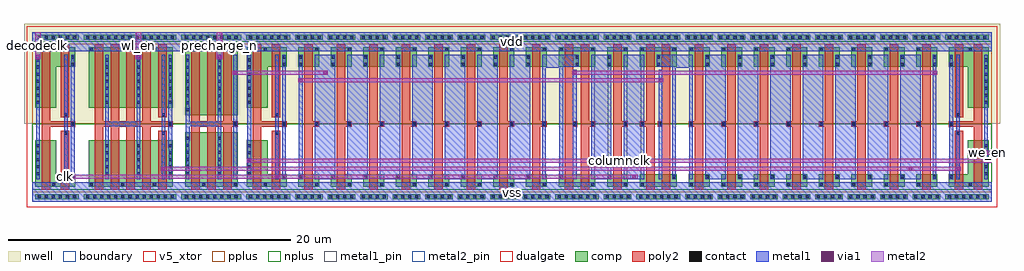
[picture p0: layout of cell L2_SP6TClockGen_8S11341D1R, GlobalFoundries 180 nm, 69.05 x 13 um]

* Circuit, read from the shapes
.subckt L2_SP6TClockGen_8S11341D1R clk columnclk decodeclk precharge_n vdd vss we_en wl_en
XM1 vss n1 decodeclk vss nfet_05v0 w=3.295u l=0.6u
XM2 n1 clk vss vss nfet_05v0 w=0.88u l=0.6u
XM3 wl_en n2 vss vss nfet_05v0 w=3.295u l=0.6u m=4
XM4 n2 L2_SP6TNonOvlClock_8S11341D1R_1/firststage[7] vss vss nfet_05v0 w=3.295u l=0.6u
XM5 vss L2_inv_x3_5v0_2/i precharge_n vss nfet_05v0 w=3.835u l=0.6u m=3
XM6 vss n3 columnclk vss nfet_05v0 w=3.295u l=0.6u
XM7 n3 clk vss vss nfet_05v0 w=0.88u l=0.6u
XM8 vss L2_inv_x3_5v0_2/i L2_SP6TNonOvlClock_8S11341D1R_1/secondstage[8] vss nfet_05v0 w=0.88u l=0.6u
XM9 vss L2_SP6TNonOvlClock_8S11341D1R_1/secondstage[6] L2_inv_x3_5v0_2/i vss nfet_05v0 w=0.88u l=0.6u
XM10 vss L2_SP6TNonOvlClock_8S11341D1R_1/secondstage[5] L2_SP6TNonOvlClock_8S11341D1R_1/secondstage[6] vss nfet_05v0 w=0.88u l=0.6u
XM11 vss L2_SP6TNonOvlClock_8S11341D1R_1/secondstage[4] L2_SP6TNonOvlClock_8S11341D1R_1/secondstage[5] vss nfet_05v0 w=0.88u l=0.6u
XM12 vss L2_SP6TNonOvlClock_8S11341D1R_1/secondstage[3] L2_SP6TNonOvlClock_8S11341D1R_1/secondstage[4] vss nfet_05v0 w=0.88u l=0.6u
XM13 vss L2_SP6TNonOvlClock_8S11341D1R_1/secondstage[2] L2_SP6TNonOvlClock_8S11341D1R_1/secondstage[3] vss nfet_05v0 w=0.88u l=0.6u
XM14 vss L2_SP6TNonOvlClock_8S11341D1R_1/secondstage[1] L2_SP6TNonOvlClock_8S11341D1R_1/secondstage[2] vss nfet_05v0 w=0.88u l=0.6u
XM15 vss L2_SP6TNonOvlClock_8S11341D1R_1/secondstage[0] L2_SP6TNonOvlClock_8S11341D1R_1/secondstage[1] vss nfet_05v0 w=0.88u l=0.6u
XM16 n4 L2_SP6TNonOvlClock_8S11341D1R_1/firststage[8] L2_SP6TNonOvlClock_8S11341D1R_1/secondstage[0] vss nfet_05v0 w=0.88u l=0.6u
XM17 vss L2_SP6TNonOvlClock_8S11341D1R_1/L2_nand2_x0_5v0_9/i0 n4 vss nfet_05v0 w=0.88u l=0.6u
XM18 vss clk L2_SP6TNonOvlClock_8S11341D1R_1/L2_nand2_x0_5v0_9/i0 vss nfet_05v0 w=0.88u l=0.6u
XM19 n5 clk vss vss nfet_05v0 w=0.88u l=0.6u
XM20 L2_SP6TNonOvlClock_8S11341D1R_1/firststage[0] L2_SP6TNonOvlClock_8S11341D1R_1/secondstage[8] n5 vss nfet_05v0 w=0.88u l=0.6u
XM21 L2_SP6TNonOvlClock_8S11341D1R_1/firststage[1] L2_SP6TNonOvlClock_8S11341D1R_1/firststage[0] vss vss nfet_05v0 w=0.88u l=0.6u
XM22 L2_SP6TNonOvlClock_8S11341D1R_1/firststage[2] L2_SP6TNonOvlClock_8S11341D1R_1/firststage[1] vss vss nfet_05v0 w=0.88u l=0.6u
XM23 L2_SP6TNonOvlClock_8S11341D1R_1/firststage[3] L2_SP6TNonOvlClock_8S11341D1R_1/firststage[2] vss vss nfet_05v0 w=0.88u l=0.6u
XM24 L2_SP6TNonOvlClock_8S11341D1R_1/firststage[4] L2_SP6TNonOvlClock_8S11341D1R_1/firststage[3] vss vss nfet_05v0 w=0.88u l=0.6u
XM25 L2_SP6TNonOvlClock_8S11341D1R_1/firststage[5] L2_SP6TNonOvlClock_8S11341D1R_1/firststage[4] vss vss nfet_05v0 w=0.88u l=0.6u
XM26 L2_SP6TNonOvlClock_8S11341D1R_1/firststage[6] L2_SP6TNonOvlClock_8S11341D1R_1/firststage[5] vss vss nfet_05v0 w=0.88u l=0.6u
XM27 L2_SP6TNonOvlClock_8S11341D1R_1/firststage[7] L2_SP6TNonOvlClock_8S11341D1R_1/firststage[6] vss vss nfet_05v0 w=0.88u l=0.6u
XM28 L2_SP6TNonOvlClock_8S11341D1R_1/firststage[8] L2_SP6TNonOvlClock_8S11341D1R_1/firststage[7] vss vss nfet_05v0 w=0.88u l=0.6u
XM29 vss L2_SP6TNonOvlClock_8S11341D1R_1/firststage[7] n6 vss nfet_05v0 w=0.88u l=0.6u
XM30 we_en n6 vss vss nfet_05v0 w=3.295u l=0.6u
XM31 vdd n1 decodeclk vdd pfet_05v0 w=4.295u l=0.6u
XM32 n1 clk vdd vdd pfet_05v0 w=1.4u l=0.6u
XM33 wl_en n2 vdd vdd pfet_05v0 w=4.295u l=0.6u m=4
XM34 n2 L2_SP6TNonOvlClock_8S11341D1R_1/firststage[7] vdd vdd pfet_05v0 w=4.295u l=0.6u
XM35 vdd L2_inv_x3_5v0_2/i precharge_n vdd pfet_05v0 w=4.835u l=0.6u m=3
XM36 vdd n3 columnclk vdd pfet_05v0 w=4.295u l=0.6u
XM37 n3 clk vdd vdd pfet_05v0 w=1.4u l=0.6u
XM38 vdd L2_inv_x3_5v0_2/i L2_SP6TNonOvlClock_8S11341D1R_1/secondstage[8] vdd pfet_05v0 w=1.4u l=0.6u
XM39 vdd L2_SP6TNonOvlClock_8S11341D1R_1/secondstage[6] L2_inv_x3_5v0_2/i vdd pfet_05v0 w=1.4u l=0.6u
XM40 vdd L2_SP6TNonOvlClock_8S11341D1R_1/secondstage[5] L2_SP6TNonOvlClock_8S11341D1R_1/secondstage[6] vdd pfet_05v0 w=1.4u l=0.6u
XM41 vdd L2_SP6TNonOvlClock_8S11341D1R_1/secondstage[4] L2_SP6TNonOvlClock_8S11341D1R_1/secondstage[5] vdd pfet_05v0 w=1.4u l=0.6u
XM42 vdd L2_SP6TNonOvlClock_8S11341D1R_1/secondstage[3] L2_SP6TNonOvlClock_8S11341D1R_1/secondstage[4] vdd pfet_05v0 w=1.4u l=0.6u
XM43 vdd L2_SP6TNonOvlClock_8S11341D1R_1/secondstage[2] L2_SP6TNonOvlClock_8S11341D1R_1/secondstage[3] vdd pfet_05v0 w=1.4u l=0.6u
XM44 vdd L2_SP6TNonOvlClock_8S11341D1R_1/secondstage[1] L2_SP6TNonOvlClock_8S11341D1R_1/secondstage[2] vdd pfet_05v0 w=1.4u l=0.6u
XM45 vdd L2_SP6TNonOvlClock_8S11341D1R_1/secondstage[0] L2_SP6TNonOvlClock_8S11341D1R_1/secondstage[1] vdd pfet_05v0 w=1.4u l=0.6u
XM46 L2_SP6TNonOvlClock_8S11341D1R_1/secondstage[0] L2_SP6TNonOvlClock_8S11341D1R_1/firststage[8] vdd vdd pfet_05v0 w=1.4u l=0.6u
XM47 vdd L2_SP6TNonOvlClock_8S11341D1R_1/L2_nand2_x0_5v0_9/i0 L2_SP6TNonOvlClock_8S11341D1R_1/secondstage[0] vdd pfet_05v0 w=1.4u l=0.6u
XM48 vdd clk L2_SP6TNonOvlClock_8S11341D1R_1/L2_nand2_x0_5v0_9/i0 vdd pfet_05v0 w=1.4u l=0.6u
XM49 L2_SP6TNonOvlClock_8S11341D1R_1/firststage[0] clk vdd vdd pfet_05v0 w=1.4u l=0.6u
XM50 vdd L2_SP6TNonOvlClock_8S11341D1R_1/secondstage[8] L2_SP6TNonOvlClock_8S11341D1R_1/firststage[0] vdd pfet_05v0 w=1.4u l=0.6u
XM51 L2_SP6TNonOvlClock_8S11341D1R_1/firststage[1] L2_SP6TNonOvlClock_8S11341D1R_1/firststage[0] vdd vdd pfet_05v0 w=1.4u l=0.6u
XM52 L2_SP6TNonOvlClock_8S11341D1R_1/firststage[2] L2_SP6TNonOvlClock_8S11341D1R_1/firststage[1] vdd vdd pfet_05v0 w=1.4u l=0.6u
XM53 L2_SP6TNonOvlClock_8S11341D1R_1/firststage[3] L2_SP6TNonOvlClock_8S11341D1R_1/firststage[2] vdd vdd pfet_05v0 w=1.4u l=0.6u
XM54 L2_SP6TNonOvlClock_8S11341D1R_1/firststage[4] L2_SP6TNonOvlClock_8S11341D1R_1/firststage[3] vdd vdd pfet_05v0 w=1.4u l=0.6u
XM55 L2_SP6TNonOvlClock_8S11341D1R_1/firststage[5] L2_SP6TNonOvlClock_8S11341D1R_1/firststage[4] vdd vdd pfet_05v0 w=1.4u l=0.6u
XM56 L2_SP6TNonOvlClock_8S11341D1R_1/firststage[6] L2_SP6TNonOvlClock_8S11341D1R_1/firststage[5] vdd vdd pfet_05v0 w=1.4u l=0.6u
XM57 L2_SP6TNonOvlClock_8S11341D1R_1/firststage[7] L2_SP6TNonOvlClock_8S11341D1R_1/firststage[6] vdd vdd pfet_05v0 w=1.4u l=0.6u
XM58 L2_SP6TNonOvlClock_8S11341D1R_1/firststage[8] L2_SP6TNonOvlClock_8S11341D1R_1/firststage[7] vdd vdd pfet_05v0 w=1.4u l=0.6u
XM59 vdd L2_SP6TNonOvlClock_8S11341D1R_1/firststage[7] n6 vdd pfet_05v0 w=1.4u l=0.6u
XM60 we_en n6 vdd vdd pfet_05v0 w=4.295u l=0.6u
.ends

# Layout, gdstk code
from math import pi, radians
import gdstk
lib = gdstk.Library(unit=1e-6, precision=1e-09)
def R(c, l, rs):  # rectangles x0, y0, x1, y1
    for r in rs: c.add(gdstk.rectangle(r[:2], r[2:], *l))
def A(c, l, x, y, w, h, nx, ny, dx, dy):  # array of equal rectangles
    R(c, l, [(x+i*dx, y+j*dy, x+i*dx+w, y+j*dy+h) for i in range(nx) for j in range(ny)])
def P(c, l, *ps):  # polygons
    for p in ps: c.add(gdstk.Polygon(p, *l))
boundary = (0, 0)
nwell = (21, 0)
comp = (22, 0)
poly2 = (30, 0)
pplus = (31, 0)
nplus = (32, 0)
contact = (33, 0)
metal1 = (34, 0)
metal1_pin = (34, 10)
via1 = (35, 0)
metal2 = (36, 0)
metal2_pin = (36, 10)
dualgate = (55, 0)
v5_xtor = (112, 1)

l2_buf_x1_5v0 = lib.new_cell('L2_buf_x1_5v0')
R(l2_buf_x1_5v0, nwell, [(-0.6,5.5,4.05,12.6)])
R(l2_buf_x1_5v0, comp, [(0.18,0.18,3.27,0.54), (0.18,11.46,3.27,11.82)])
P(l2_buf_x1_5v0, comp, [(1.76,6.64),(1.76,9.535),(0.42,9.535),(0.42,10.935),(3.24,10.935),(3.24,6.64)],
  [(0.42,1.065),(0.42,1.945),(1.76,1.945),(1.76,4.36),(3.24,4.36),(3.24,1.065)])
R(l2_buf_x1_5v0, poly2, [(0.86,0.845,1.46,5.02), (0.86,5.98,1.46,11.155)])
P(l2_buf_x1_5v0, poly2, [(2.2,0.845),(2.2,5.32),(0.42,5.32),(0.42,5.68),(2.2,5.68),(2.2,11.155),(2.8,11.155),(2.8,0.845)])
R(l2_buf_x1_5v0, pplus, [(0,0,3.45,0.7), (0,5.5,3.45,11.165)])
R(l2_buf_x1_5v0, nplus, [(0,0.835,3.45,5.5), (0,11.3,3.45,12)])
A(l2_buf_x1_5v0, contact, 0.365, 0.25, 0.22, 0.22, 6, 2, 0.5, 11.28)
A(l2_buf_x1_5v0, contact, 2.95, 1.86, 0.22, 0.22, 1, 5, 0, 0.5)
A(l2_buf_x1_5v0, contact, 2.95, 6.92, 0.22, 0.22, 1, 7, 0, 0.5)
R(l2_buf_x1_5v0, contact, [(1.83,1.135,2.05,1.355), (0.49,1.65,0.71,1.87), (0.98,4.73,1.2,4.95), (0.49,5.39,0.71,5.61), (0.98,6.05,1.2,6.27), (0.49,9.62,0.71,9.84), (0.49,10.12,0.71,10.34), (1.83,10.645,2.05,10.865)])
R(l2_buf_x1_5v0, metal1, [(0,0,3.45,1.36), (0.96,1.59,1.22,10.41), (2.93,1.59,3.19,10.41), (0,10.64,3.45,12)])
P(l2_buf_x1_5v0, metal1, [(0.47,1.59),(0.47,9.9),(0.485,9.9),(0.485,10.41),(0.715,10.41),(0.715,9.9),(0.73,9.9),(0.73,1.59)])
R(l2_buf_x1_5v0, metal1_pin, [(0,0,3.45,1.36), (0.96,1.59,1.22,10.41), (2.93,1.59,3.19,10.41), (0,10.64,3.45,12)])
R(l2_buf_x1_5v0, dualgate, [(-0.4,-0.4,3.85,12.4)])
R(l2_buf_x1_5v0, v5_xtor, [(-0.005,-0.005,3.455,12.005)])
l2_buf_x1_5v0.add(gdstk.Label('q', (3.06,6), layer=34, texttype=10))
l2_buf_x1_5v0.add(gdstk.Label('i', (1.09,6), layer=34, texttype=10))
l2_buf_x1_5v0.add(gdstk.Label('vss', (1.725,0.68), layer=34, texttype=10))
l2_buf_x1_5v0.add(gdstk.Label('vdd', (1.725,11.32), layer=34, texttype=10))

l2_inv_x0_5v0 = lib.new_cell('L2_inv_x0_5v0')
R(l2_inv_x0_5v0, nwell, [(-0.6,5.5,2.9,12.6)])
R(l2_inv_x0_5v0, comp, [(0.18,0.18,2.12,0.54), (0.42,1.065,1.9,1.945), (0.42,9.535,1.9,10.935), (0.18,11.46,2.12,11.82)])
P(l2_inv_x0_5v0, poly2, [(0.86,0.845),(0.86,5.32),(0.42,5.32),(0.42,5.68),(0.86,5.68),(0.86,11.155),(1.46,11.155),(1.46,0.845)])
R(l2_inv_x0_5v0, pplus, [(0,0,2.3,0.7), (0,5.5,2.3,11.165)])
R(l2_inv_x0_5v0, nplus, [(0,0.835,2.3,5.5), (0,11.3,2.3,12)])
A(l2_inv_x0_5v0, contact, 0.29, 0.25, 0.22, 0.22, 4, 2, 0.5, 11.28)
R(l2_inv_x0_5v0, contact, [(0.49,1.135,0.71,1.355), (1.61,1.65,1.83,1.87), (0.49,5.39,0.71,5.61), (1.61,9.62,1.83,9.84), (1.61,10.12,1.83,10.34), (0.49,10.645,0.71,10.865)])
R(l2_inv_x0_5v0, metal1, [(0,0,2.3,1.36), (0.47,1.59,0.73,10.41), (1.59,1.59,1.85,10.41), (0,10.64,2.3,12)])
R(l2_inv_x0_5v0, metal1_pin, [(0,0,2.3,1.36), (0.47,1.59,0.73,10.41), (1.59,1.59,1.85,10.41), (0,10.64,2.3,12)])
R(l2_inv_x0_5v0, dualgate, [(-0.4,-0.4,2.7,12.4)])
R(l2_inv_x0_5v0, v5_xtor, [(-0.005,-0.005,2.305,12.005)])
l2_inv_x0_5v0.add(gdstk.Label('i', (0.6,6), layer=34, texttype=10))
l2_inv_x0_5v0.add(gdstk.Label('nq', (1.72,6), layer=34, texttype=10))
l2_inv_x0_5v0.add(gdstk.Label('vdd', (1.15,11.32), layer=34, texttype=10))
l2_inv_x0_5v0.add(gdstk.Label('vss', (1.15,0.68), layer=34, texttype=10))

l2_nand2_x0_5v0 = lib.new_cell('L2_nand2_x0_5v0')
R(l2_nand2_x0_5v0, nwell, [(-0.6,5.5,4.05,12.6)])
R(l2_nand2_x0_5v0, comp, [(0.18,0.18,3.27,0.54), (0.42,1.065,3.02,1.945), (0.42,9.535,3.02,10.935), (0.18,11.46,3.27,11.82)])
P(l2_nand2_x0_5v0, poly2, [(1.98,0.845),(1.98,5.32),(1.7,5.32),(1.7,5.68),(1.98,5.68),(1.98,11.155),(2.58,11.155),(2.58,0.845)],
  [(0.86,0.845),(0.86,5.32),(0.42,5.32),(0.42,5.68),(0.86,5.68),(0.86,11.155),(1.46,11.155),(1.46,0.845)])
R(l2_nand2_x0_5v0, pplus, [(0,0,3.45,0.7), (0,5.5,3.45,11.165)])
R(l2_nand2_x0_5v0, nplus, [(0,0.835,3.45,5.5), (0,11.3,3.45,12)])
A(l2_nand2_x0_5v0, contact, 0.365, 0.25, 0.22, 0.22, 6, 2, 0.5, 11.28)
R(l2_nand2_x0_5v0, contact, [(0.49,1.135,0.71,1.355), (2.73,1.65,2.95,1.87), (0.49,5.39,0.71,5.61), (1.77,5.39,1.99,5.61), (1.61,9.62,1.83,9.84), (1.61,10.12,1.83,10.34), (0.49,10.645,0.71,10.865), (2.73,10.645,2.95,10.865)])
R(l2_nand2_x0_5v0, metal1, [(0,0,3.45,1.36), (0.47,1.59,0.73,10.41), (1.75,1.59,2.01,9.33), (0,10.64,3.45,12)])
P(l2_nand2_x0_5v0, metal1, [(2.71,1.59),(2.71,9.56),(1.605,9.56),(1.605,10.41),(2.97,10.41),(2.97,1.59)])
R(l2_nand2_x0_5v0, metal1_pin, [(0,0,3.45,1.36), (0.47,1.59,0.73,10.41), (1.75,1.59,2.01,9.33), (2.71,1.59,2.97,10.41), (0,10.64,3.45,12)])
R(l2_nand2_x0_5v0, dualgate, [(-0.4,-0.4,3.85,12.4)])
R(l2_nand2_x0_5v0, v5_xtor, [(-0.005,-0.005,3.455,12.005)])
l2_nand2_x0_5v0.add(gdstk.Label('nq', (2.84,6), layer=34, texttype=10))
l2_nand2_x0_5v0.add(gdstk.Label('i1', (1.88,5.46), layer=34, texttype=10))
l2_nand2_x0_5v0.add(gdstk.Label('i0', (0.6,6), layer=34, texttype=10))
l2_nand2_x0_5v0.add(gdstk.Label('vdd', (1.725,11.32), layer=34, texttype=10))
l2_nand2_x0_5v0.add(gdstk.Label('vss', (1.725,0.68), layer=34, texttype=10))

l2_sp6tnonovlclock_8s113 = lib.new_cell('L2_SP6TNonOvlClock_8S11341D1R')
R(l2_sp6tnonovlclock_8s113, boundary, [(0,0,46,12)])
A(l2_sp6tnonovlclock_8s113, metal1, 1.57, 1.59, 1.44, 8.82, 7, 1, 2.3, 0)
A(l2_sp6tnonovlclock_8s113, metal1, 29.19, 1.59, 1.44, 8.82, 7, 1, 2.3, 0)
R(l2_sp6tnonovlclock_8s113, metal1, [(0,0,46,1.36), (21.25,1.59,22.43,10.41), (23.55,1.59,24.75,10.41), (0.45,8.39,0.71,8.77), (25.9,8.39,26.16,8.77), (19.84,8.95,20.1,9.33), (45.29,8.95,45.55,9.33), (17.67,9.49,19.01,10.41), (26.99,9.49,28.33,10.41), (0,10.64,46,12)])
A(l2_sp6tnonovlclock_8s113, metal1_pin, 1.57, 1.59, 1.44, 8.82, 7, 1, 2.3, 0)
A(l2_sp6tnonovlclock_8s113, metal1_pin, 29.19, 1.59, 1.44, 8.82, 7, 1, 2.3, 0)
R(l2_sp6tnonovlclock_8s113, metal1_pin, [(0,0,46,1.36), (17.67,9.49,19.01,10.41), (26.99,9.49,28.33,10.41), (0,10.64,46,12)])
R(l2_sp6tnonovlclock_8s113, via1, [(24.02,1.65,24.28,1.91), (0.45,8.45,0.71,8.71), (25.9,8.45,26.16,8.71), (19.84,9.01,20.1,9.27), (45.29,9.01,45.55,9.27)])
R(l2_sp6tnonovlclock_8s113, metal2, [(23.89,1.64,24.41,1.92), (0.39,8.44,26.22,8.72), (19.78,9,45.61,9.28)])
R(l2_sp6tnonovlclock_8s113, metal2_pin, [(23.89,1.64,24.41,1.92), (0.39,8.44,26.22,8.72), (19.78,9,45.61,9.28)])
l2_sp6tnonovlclock_8s113.add(gdstk.Reference(l2_inv_x0_5v0, (27.6,0)))
l2_sp6tnonovlclock_8s113.add(gdstk.Reference(l2_inv_x0_5v0, (29.9,0)))
l2_sp6tnonovlclock_8s113.add(gdstk.Reference(l2_inv_x0_5v0, (32.2,0)))
l2_sp6tnonovlclock_8s113.add(gdstk.Reference(l2_inv_x0_5v0, (34.5,0)))
l2_sp6tnonovlclock_8s113.add(gdstk.Reference(l2_inv_x0_5v0, (36.8,0)))
l2_sp6tnonovlclock_8s113.add(gdstk.Reference(l2_inv_x0_5v0, (39.1,0)))
l2_sp6tnonovlclock_8s113.add(gdstk.Reference(l2_inv_x0_5v0, (41.4,0)))
l2_sp6tnonovlclock_8s113.add(gdstk.Reference(l2_inv_x0_5v0, (43.7,0)))
l2_sp6tnonovlclock_8s113.add(gdstk.Reference(l2_nand2_x0_5v0, (24.15,0)))
l2_sp6tnonovlclock_8s113.add(gdstk.Reference(l2_nand2_x0_5v0, (21.85,0), rotation=pi, x_reflection=True))
l2_sp6tnonovlclock_8s113.add(gdstk.Reference(l2_inv_x0_5v0, (2.3,0), rotation=pi, x_reflection=True))
l2_sp6tnonovlclock_8s113.add(gdstk.Reference(l2_inv_x0_5v0, (4.6,0), rotation=pi, x_reflection=True))
l2_sp6tnonovlclock_8s113.add(gdstk.Reference(l2_inv_x0_5v0, (6.9,0), rotation=pi, x_reflection=True))
l2_sp6tnonovlclock_8s113.add(gdstk.Reference(l2_inv_x0_5v0, (9.2,0), rotation=pi, x_reflection=True))
l2_sp6tnonovlclock_8s113.add(gdstk.Reference(l2_inv_x0_5v0, (11.5,0), rotation=pi, x_reflection=True))
l2_sp6tnonovlclock_8s113.add(gdstk.Reference(l2_inv_x0_5v0, (13.8,0), rotation=pi, x_reflection=True))
l2_sp6tnonovlclock_8s113.add(gdstk.Reference(l2_inv_x0_5v0, (16.1,0), rotation=pi, x_reflection=True))
l2_sp6tnonovlclock_8s113.add(gdstk.Reference(l2_inv_x0_5v0, (18.4,0), rotation=pi, x_reflection=True))
l2_sp6tnonovlclock_8s113.add(gdstk.Reference(l2_inv_x0_5v0, (24.15,0), rotation=pi, x_reflection=True))
l2_sp6tnonovlclock_8s113.add(gdstk.Label('secondstage[7]', (2.29,6), layer=34, texttype=10))
l2_sp6tnonovlclock_8s113.add(gdstk.Label('firststage[6]', (41.41,6), layer=34, texttype=10))
l2_sp6tnonovlclock_8s113.add(gdstk.Label('secondstage[5]', (6.89,6), layer=34, texttype=10))
l2_sp6tnonovlclock_8s113.add(gdstk.Label('vdd', (23,11.32), layer=34, texttype=10))
l2_sp6tnonovlclock_8s113.add(gdstk.Label('firststage[3]', (34.51,6), layer=34, texttype=10))
l2_sp6tnonovlclock_8s113.add(gdstk.Label('vss', (23,0.68), layer=34, texttype=10))
l2_sp6tnonovlclock_8s113.add(gdstk.Label('firststage[5]', (39.11,6), layer=34, texttype=10))
l2_sp6tnonovlclock_8s113.add(gdstk.Label('secondstage[2]', (13.79,6), layer=34, texttype=10))
l2_sp6tnonovlclock_8s113.add(gdstk.Label('secondstage[0]', (18.34,9.95), layer=34, texttype=10))
l2_sp6tnonovlclock_8s113.add(gdstk.Label('secondstage[4]', (9.19,6), layer=34, texttype=10))
l2_sp6tnonovlclock_8s113.add(gdstk.Label('firststage[1]', (29.91,6), layer=34, texttype=10))
l2_sp6tnonovlclock_8s113.add(gdstk.Label('secondstage[1]', (16.09,6), layer=34, texttype=10))
l2_sp6tnonovlclock_8s113.add(gdstk.Label('firststage[0]', (27.66,9.95), layer=34, texttype=10))
l2_sp6tnonovlclock_8s113.add(gdstk.Label('firststage[2]', (32.21,6), layer=34, texttype=10))
l2_sp6tnonovlclock_8s113.add(gdstk.Label('firststage[7]', (43.71,6), layer=34, texttype=10))
l2_sp6tnonovlclock_8s113.add(gdstk.Label('secondstage[6]', (4.59,6), layer=34, texttype=10))
l2_sp6tnonovlclock_8s113.add(gdstk.Label('secondstage[3]', (11.49,6), layer=34, texttype=10))
l2_sp6tnonovlclock_8s113.add(gdstk.Label('firststage[4]', (36.81,6), layer=34, texttype=10))
l2_sp6tnonovlclock_8s113.add(gdstk.Label('secondstage[8]', (13.305,8.58), layer=36, texttype=10))
l2_sp6tnonovlclock_8s113.add(gdstk.Label('firststage[8]', (32.695,9.14), layer=36, texttype=10))
l2_sp6tnonovlclock_8s113.add(gdstk.Label('clk', (24.15,1.78), layer=36, texttype=10))

l2_inv_x3_5v0 = lib.new_cell('L2_inv_x3_5v0')
R(l2_inv_x3_5v0, nwell, [(-0.6,5.5,5.2,12.6)])
R(l2_inv_x3_5v0, comp, [(0.18,0.18,4.42,0.54), (0.42,1.065,4.14,4.9), (0.42,6.1,4.14,10.935), (0.18,11.46,4.42,11.82)])
P(l2_inv_x3_5v0, poly2, [(0.86,0.845),(0.86,5.32),(0.42,5.32),(0.42,5.68),(0.86,5.68),(0.86,11.155),(1.46,11.155),(1.46,5.68),(1.98,5.68),(1.98,11.155),(2.58,11.155),(2.58,5.68),(3.1,5.68),(3.1,11.155),(3.7,11.155),(3.7,0.845),(3.1,0.845),(3.1,5.32),(2.58,5.32),(2.58,0.845),(1.98,0.845),(1.98,5.32),(1.46,5.32),(1.46,0.845)])
R(l2_inv_x3_5v0, pplus, [(0,0,4.6,0.7), (0,5.5,4.6,11.165)])
R(l2_inv_x3_5v0, nplus, [(0,0.835,4.6,5.5), (0,11.3,4.6,12)])
A(l2_inv_x3_5v0, contact, 0.44, 0.25, 0.22, 0.22, 8, 2, 0.5, 11.28)
A(l2_inv_x3_5v0, contact, 1.61, 1.88, 0.22, 0.22, 1, 6, 0, 0.5)
A(l2_inv_x3_5v0, contact, 3.85, 1.88, 0.22, 0.22, 1, 6, 0, 0.5)
A(l2_inv_x3_5v0, contact, 1.61, 6.4, 0.22, 0.22, 1, 8, 0, 0.5)
A(l2_inv_x3_5v0, contact, 3.85, 6.4, 0.22, 0.22, 1, 8, 0, 0.5)
R(l2_inv_x3_5v0, contact, [(0.49,1.135,0.71,1.355), (2.73,1.135,2.95,1.355), (0.49,5.39,0.71,5.61), (0.49,10.645,0.71,10.865), (2.73,10.645,2.95,10.865)])
R(l2_inv_x3_5v0, metal1, [(0,0,4.6,1.36), (0.47,1.59,0.73,10.41), (0,10.64,4.6,12)])
P(l2_inv_x3_5v0, metal1, [(1.59,1.59),(1.59,10.41),(1.85,10.41),(1.85,5.67),(3.83,5.67),(3.83,6.68),(3.845,6.68),(3.845,10.41),(4.075,10.41),(4.075,6.68),(4.09,6.68),(4.09,4.32),(4.075,4.32),(4.075,1.59),(3.845,1.59),(3.845,4.32),(3.83,4.32),(3.83,5.33),(1.85,5.33),(1.85,1.59)])
R(l2_inv_x3_5v0, metal1_pin, [(0,0,4.6,1.36), (0.47,1.59,0.73,10.41), (1.59,1.59,1.85,10.41), (0,10.64,4.6,12)])
R(l2_inv_x3_5v0, dualgate, [(-0.4,-0.4,5,12.4)])
R(l2_inv_x3_5v0, v5_xtor, [(-0.005,-0.005,4.605,12.005)])
l2_inv_x3_5v0.add(gdstk.Label('i', (0.6,6), layer=34, texttype=10))
l2_inv_x3_5v0.add(gdstk.Label('nq', (1.72,6), layer=34, texttype=10))
l2_inv_x3_5v0.add(gdstk.Label('vdd', (2.3,11.32), layer=34, texttype=10))
l2_inv_x3_5v0.add(gdstk.Label('vss', (2.3,0.68), layer=34, texttype=10))

l2_buf_x4_5v0 = lib.new_cell('L2_buf_x4_5v0')
R(l2_buf_x4_5v0, nwell, [(-0.6,5.5,7.5,12.6)])
R(l2_buf_x4_5v0, comp, [(0.18,0.18,6.72,0.54), (0.42,1.065,6.38,4.36), (0.42,6.64,6.38,10.935), (0.18,11.46,6.72,11.82)])
R(l2_buf_x4_5v0, poly2, [(0.86,0.845,1.46,5.02), (0.86,5.98,1.46,11.155)])
P(l2_buf_x4_5v0, poly2, [(1.98,0.845),(1.98,5.32),(0.42,5.32),(0.42,5.68),(1.98,5.68),(1.98,11.155),(2.58,11.155),(2.58,5.68),(3.1,5.68),(3.1,11.155),(3.7,11.155),(3.7,5.68),(4.22,5.68),(4.22,11.155),(4.82,11.155),(4.82,5.68),(5.34,5.68),(5.34,11.155),(5.94,11.155),(5.94,0.845),(5.34,0.845),(5.34,5.32),(4.82,5.32),(4.82,0.845),(4.22,0.845),(4.22,5.32),(3.7,5.32),(3.7,0.845),(3.1,0.845),(3.1,5.32),(2.58,5.32),(2.58,0.845)])
R(l2_buf_x4_5v0, pplus, [(0,0,6.9,0.7), (0,5.5,6.9,11.165)])
R(l2_buf_x4_5v0, nplus, [(0,0.835,6.9,5.5), (0,11.3,6.9,12)])
A(l2_buf_x4_5v0, contact, 0.34, 0.25, 0.22, 0.22, 13, 2, 0.5, 11.28)
A(l2_buf_x4_5v0, contact, 1.61, 1.135, 0.22, 0.22, 3, 2, 2.24, 9.51)
A(l2_buf_x4_5v0, contact, 0.49, 1.86, 0.22, 0.22, 3, 5, 2.24, 0.5)
A(l2_buf_x4_5v0, contact, 0.49, 6.92, 0.22, 0.22, 3, 7, 2.24, 0.5)
R(l2_buf_x4_5v0, contact, [(0.98,4.73,1.2,4.95), (0.49,5.39,0.71,5.61), (0.98,6.05,1.2,6.27)])
R(l2_buf_x4_5v0, metal1, [(0,0,6.9,1.36), (0.96,1.59,1.22,10.41), (0,10.64,6.9,12)])
P(l2_buf_x4_5v0, metal1, [(2.71,1.59),(2.71,10.41),(2.97,10.41),(2.97,5.67),(4.95,5.67),(4.95,7.2),(4.965,7.2),(4.965,10.41),(5.195,10.41),(5.195,7.2),(5.21,7.2),(5.21,3.8),(5.195,3.8),(5.195,1.59),(4.965,1.59),(4.965,3.8),(4.95,3.8),(4.95,5.33),(2.97,5.33),(2.97,1.59)],
  [(0.485,1.59),(0.485,3.8),(0.47,3.8),(0.47,7.2),(0.485,7.2),(0.485,10.41),(0.715,10.41),(0.715,7.2),(0.73,7.2),(0.73,3.8),(0.715,3.8),(0.715,1.59)])
R(l2_buf_x4_5v0, metal1_pin, [(0,0,6.9,1.36), (0.96,1.59,1.22,10.41), (2.71,1.59,2.97,10.41), (0,10.64,6.9,12)])
R(l2_buf_x4_5v0, dualgate, [(-0.4,-0.4,7.3,12.4)])
R(l2_buf_x4_5v0, v5_xtor, [(-0.005,-0.005,6.905,12.005)])
l2_buf_x4_5v0.add(gdstk.Label('q', (2.84,6), layer=34, texttype=10))
l2_buf_x4_5v0.add(gdstk.Label('i', (1.09,6), layer=34, texttype=10))
l2_buf_x4_5v0.add(gdstk.Label('vss', (3.45,0.68), layer=34, texttype=10))
l2_buf_x4_5v0.add(gdstk.Label('vdd', (3.45,11.32), layer=34, texttype=10))

l2_sp6tclockgen_8s11341d = lib.new_cell('L2_SP6TClockGen_8S11341D1R')
R(l2_sp6tclockgen_8s11341d, boundary, [(0,0,67.85,12)])
R(l2_sp6tclockgen_8s11341d, metal1, [(0,0,67.85,1.36), (2.23,1.59,2.49,1.97), (17.18,1.59,17.44,1.97), (9.13,2.15,9.39,2.53), (61.98,2.15,62.24,2.53), (65.36,2.15,65.62,2.53), (15.21,2.71,15.47,3.09), (67.33,3.27,67.59,3.65), (14.22,8.95,14.48,9.33), (20.56,8.95,20.82,9.33), (0.26,10.03,0.52,10.41), (7.38,10.03,7.64,10.41), (13.1,10.03,13.36,10.41), (0,10.64,67.85,12)])
R(l2_sp6tclockgen_8s11341d, metal1_pin, [(0,0,67.85,1.36), (0,10.64,67.85,12)])
R(l2_sp6tclockgen_8s11341d, via1, [(2.23,1.65,2.49,1.91), (17.18,1.65,17.44,1.91), (9.13,2.21,9.39,2.47), (61.98,2.21,62.24,2.47), (65.36,2.21,65.62,2.47), (15.21,2.77,15.47,3.03), (67.33,3.33,67.59,3.59), (14.22,9.01,14.48,9.27), (20.56,9.01,20.82,9.27), (0.26,10.09,0.52,10.35), (7.38,10.09,7.64,10.35), (13.1,10.09,13.36,10.35)])
R(l2_sp6tclockgen_8s11341d, metal2, [(2.17,1.64,42.81,1.92), (9.07,2.2,65.68,2.48), (15.15,2.76,67.85,3.04), (67.27,3.32,67.85,3.6), (14.16,9,20.88,9.28), (0.2,10.08,0.58,12), (7.32,10.08,7.7,12), (13.04,10.08,13.42,12)])
R(l2_sp6tclockgen_8s11341d, metal2_pin, [(2.17,1.64,2.55,1.92), (15.15,2.76,67.85,3.04), (67.27,3.32,67.85,3.6), (0.2,10.08,0.58,12), (7.32,10.08,7.7,12), (13.04,10.08,13.42,12)])
l2_sp6tclockgen_8s11341d.add(gdstk.Reference(l2_buf_x1_5v0, (64.4,0)))
l2_sp6tclockgen_8s11341d.add(gdstk.Reference(l2_sp6tnonovlclock_8s113, (18.4,0)))
l2_sp6tclockgen_8s11341d.add(gdstk.Reference(l2_inv_x3_5v0, (14.95,0), rotation=pi, x_reflection=True))
l2_sp6tclockgen_8s11341d.add(gdstk.Reference(l2_buf_x4_5v0, (10.35,0), rotation=pi, x_reflection=True))
l2_sp6tclockgen_8s11341d.add(gdstk.Reference(l2_buf_x1_5v0, (3.45,0), rotation=pi, x_reflection=True))
l2_sp6tclockgen_8s11341d.add(gdstk.Reference(l2_buf_x1_5v0, (18.4,0), rotation=pi, x_reflection=True))
l2_sp6tclockgen_8s11341d.add(gdstk.Label('vdd', (33.925,11.32), layer=34, texttype=10))
l2_sp6tclockgen_8s11341d.add(gdstk.Label('vss', (33.925,0.68), layer=34, texttype=10))
l2_sp6tclockgen_8s11341d.add(gdstk.Label('we_en', (67.56,3.46), layer=36, texttype=10))
l2_sp6tclockgen_8s11341d.add(gdstk.Label('columnclk', (41.5,2.9), layer=36, texttype=10))
l2_sp6tclockgen_8s11341d.add(gdstk.Label('precharge_n', (13.23,11.04), layer=36, texttype=10))
l2_sp6tclockgen_8s11341d.add(gdstk.Label('wl_en', (7.51,11.04), layer=36, texttype=10))
l2_sp6tclockgen_8s11341d.add(gdstk.Label('decodeclk', (0.39,11.04), layer=36, texttype=10))
l2_sp6tclockgen_8s11341d.add(gdstk.Label('clk', (2.36,1.78), layer=36, texttype=10))

lib.write_gds('L2_SP6TClockGen_8S11341D1R.gds')
